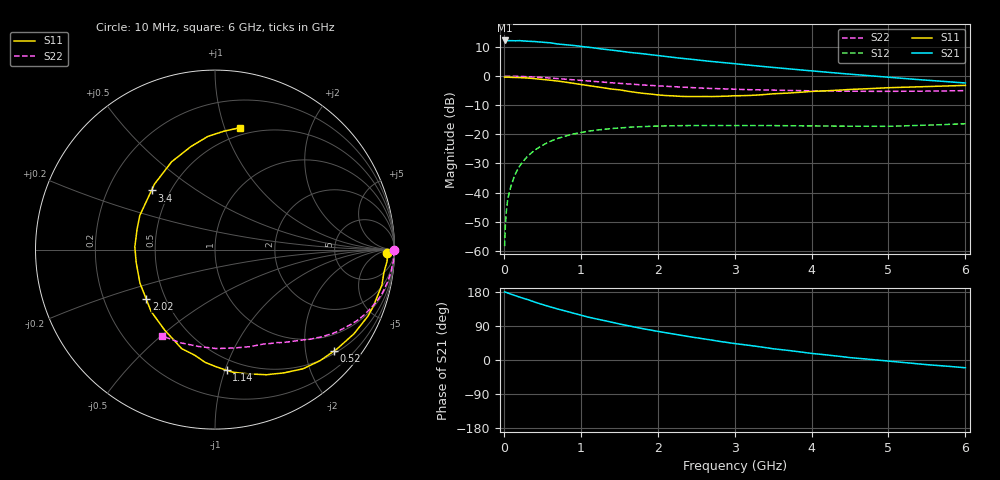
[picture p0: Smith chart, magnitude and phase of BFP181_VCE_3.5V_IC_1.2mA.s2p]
! Infineon Technologies  Discrete & RF Semiconductors
! BFP181
! VCE = 3.5 V,  IC =  1.2 mA
! Common Emitter S-Parameters:  Jan 2016
# GHz  S  MA  R  50
!  f  S11  S21  S12  S22
! GHz  MAG  ANG  MAG  ANG  MAG  ANG  MAG  ANG
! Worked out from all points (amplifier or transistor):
!   210 points, 10 MHz to 6 GHz, reference 50 ohm
!   highest |S21| = 12.2 dB at 10 MHz (marker M1)
!   |S21| within 3 dB of that: start of sweep to 1.298 GHz
!   unconditionally stable (mu >= 1): 2.927 GHz to end of sweep
!   at 185 MHz: K = 0.07, MSG = 22.0 dB, |S12| = -31.8 dB
!   at 1.52 GHz: K = 0.56, MSG = 13.2 dB, |S12| = -17.8 dB
!   at 6 GHz: K = 1.24, MAG = 4.0 dB, |S12| = -16.4 dB
!   S11 on the Smith chart (normalised r, x): 10 MHz: 40, -16; 520 MHz: 0.56, -2.60; 1.14 GHz: 0.41, -1.02; 2.02 GHz: 0.39, -0.28; 3.4 GHz: 0.39, +0.34; 6 GHz: 0.43, +1.13
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0.01  0.9582 -1.0  4.094 179.5  0.0012 88.6  0.9981 -0.2
0.025  0.9606 -2.1  4.074 178.8  0.0035 93.1  0.9976 -1.0
0.045  0.9608 -3.5  4.081 177.1  0.0067 92.0  0.9966 -1.7
0.13  0.9496 -10.4  4.044 171.2  0.0181 82.8  0.9933 -4.8
0.2  0.9414 -15.9  4.069 166.3  0.0278 79.9  0.9893 -7.2
0.3  0.929 -23.6  3.979 160.2  0.0408 74.6  0.9771 -10.9
0.4  0.9053 -31.2  3.924 152.9  0.0532 70.1  0.9646 -14.3
0.52  0.8705 -40.6  3.802 145.1  0.0667 63.8  0.9433 -18.2
0.6  0.8518 -46.6  3.734 140.4  0.0754 60.2  0.9271 -20.7
0.8  0.7878 -60.6  3.479 128.9  0.0931 52.3  0.888 -26.2
1.02  0.7121 -76.0  3.217 117.2  0.1082 44.2  0.8401 -31.5
1.14  0.6761 -84.4  3.091 111.3  0.1153 40.2  0.8163 -34.2
1.58  0.558 -113.4  2.605 91.9  0.1311 28.9  0.7396 -42.0
1.8  0.5075 -129.4  2.427 82.9  0.1359 24.7  0.7057 -45.4
2.02  0.4724 -144.1  2.24 74.9  0.1389 20.7  0.6779 -48.6
2.4  0.4457 -169.6  1.973 61.9  0.1416 14.9  0.6395 -54.1
2.8  0.4486 166.3  1.735 49.2  0.1418 10.7  0.607 -59.6
3.1  0.4613 150.8  1.584 41.0  0.1413 8.1  0.5881 -64.0
3.4  0.4836 137.0  1.449 32.8  0.1413 6.2  0.5776 -68.5
4.1  0.5521 113.5  1.198 15.4  0.1392 3.3  0.5554 -81.2
5.1  0.6369 91.9  0.932 -4.8  0.1385 3.2  0.5471 -101.9
6  0.6929 78.5  0.762 -20.5  0.1519 4.3  0.5638 -121.4
